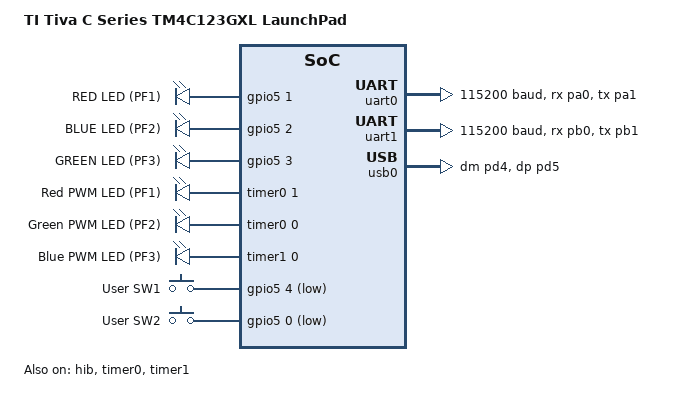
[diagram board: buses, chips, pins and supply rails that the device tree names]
/*
 * SPDX-License-Identifier: Apache-2.0
 *
 * Copyright (c) 2026 Linumiz
 * Author: Sri Surya <srisurya@linumiz.com>
 */

/dts-v1/;

#include <ti/tm4c123gh6pm.dtsi>
#include <dt-bindings/gpio/gpio.h>
#include <dt-bindings/input/input-event-codes.h>
#include <dt-bindings/pinctrl/tiva-c-pinctrl.h>
#include <dt-bindings/pwm/pwm.h>

/*
 * Pin configuration nodes for UART0 and UART1.
 * Use TIVA_C_PINMUX(port, pin, mux, type) macro.
 */
&pinctrl {
	uart0_rx_pa0: uart0_rx_pa0 {
		pinmux = <TIVA_C_PINMUX(TIVA_C_PORT_A, 0, 1, TIVA_C_TYPE_UART)>;
	};

	uart0_tx_pa1: uart0_tx_pa1 {
		pinmux = <TIVA_C_PINMUX(TIVA_C_PORT_A, 1, 1, TIVA_C_TYPE_UART)>;
	};

	uart1_rx_pb0: uart1_rx_pb0 {
		pinmux = <TIVA_C_PINMUX(TIVA_C_PORT_B, 0, 1, TIVA_C_TYPE_UART)>;
	};

	uart1_tx_pb1: uart1_tx_pb1 {
		pinmux = <TIVA_C_PINMUX(TIVA_C_PORT_B, 1, 1, TIVA_C_TYPE_UART)>;
	};

	/* PWM pins for RGB LED (PF1/PF2/PF3) */
	pwm_red_pf1: pwm_red_pf1 {
		pinmux = <TIVA_C_PINMUX(TIVA_C_PORT_F, 1, 7, TIVA_C_TYPE_PWM)>;
	};

	pwm_green_pf2: pwm_green_pf2 {
		pinmux = <TIVA_C_PINMUX(TIVA_C_PORT_F, 2, 7, TIVA_C_TYPE_PWM)>;
	};

	pwm_blue_pf3: pwm_blue_pf3 {
		pinmux = <TIVA_C_PINMUX(TIVA_C_PORT_F, 3, 7, TIVA_C_TYPE_PWM)>;
	};

	/* USB DP/DM analog pins (PD0/PD1) */
	usb0_dm_pd4: usb0_dm_pd4 {
		pinmux = <TIVA_C_PINMUX(TIVA_C_PORT_D, 4, 0, TIVA_C_TYPE_USB_ANALOG)>;
	};

	usb0_dp_pd5: usb0_dp_pd5 {
		pinmux = <TIVA_C_PINMUX(TIVA_C_PORT_D, 5, 0, TIVA_C_TYPE_USB_ANALOG)>;
	};
};

/ {
	model = "TI Tiva C Series TM4C123GXL LaunchPad";
	compatible = "ti,tm4c123gxl";

	aliases {
		led0 = &led_red;
		led1 = &led_blue;
		led2 = &led_green;
		pwm-led0 = &pwm_red;
		pwm-led1 = &pwm_green;
		pwm-led2 = &pwm_blue;
		red-pwm-led = &pwm_red;
		green-pwm-led = &pwm_green;
		blue-pwm-led = &pwm_blue;
		sw0 = &user_button_sw1;
		sw1 = &user_button_sw2;
	};

	chosen {
		zephyr,sram = &sram0;
		zephyr,flash = &flash0;
		zephyr,console = &uart0;
		zephyr,shell-uart = &uart0;
	};

	leds {
		compatible = "gpio-leds";
		led_red: led_red {
			gpios = <&gpio5 1 GPIO_ACTIVE_HIGH>;
			label = "RED LED (PF1)";
		};
		led_blue: led_blue {
			gpios = <&gpio5 2 GPIO_ACTIVE_HIGH>;
			label = "BLUE LED (PF2)";
		};
		led_green: led_green {
			gpios = <&gpio5 3 GPIO_ACTIVE_HIGH>;
			label = "GREEN LED (PF3)";
		};
	};

	pwmleds {
		compatible = "pwm-leds";

		pwm_red: pwm_red {
			pwms = <&timer0 1 20000000 PWM_POLARITY_NORMAL>;
			label = "Red PWM LED (PF1)";
		};

		pwm_green: pwm_green {
			pwms = <&timer0 0 20000000 PWM_POLARITY_NORMAL>;
			label = "Green PWM LED (PF2)";
		};

		pwm_blue: pwm_blue {
			pwms = <&timer1 0 20000000 PWM_POLARITY_NORMAL>;
			label = "Blue PWM LED (PF3)";
		};
	};

	gpio_keys {
		compatible = "gpio-keys";

		user_button_sw1: button_sw1 {
			label = "User SW1";
			gpios = <&gpio5 4 (GPIO_PULL_UP | GPIO_ACTIVE_LOW)>;
			zephyr,code = <INPUT_KEY_0>;
		};

		user_button_sw2: button_sw2 {
			label = "User SW2";
			gpios = <&gpio5 0 (GPIO_PULL_UP | GPIO_ACTIVE_LOW)>;
			zephyr,code = <INPUT_KEY_1>;
		};
	};
};

/* UART0 is connected to the on-board ICDI virtual COM port (PA0/PA1) */
&uart0 {
	status = "okay";
	current-speed = <115200>;
	pinctrl-0 = <&uart0_rx_pa0 &uart0_tx_pa1>;
	pinctrl-names = "default";
};

/* UART1 on header pins PB0/PB1 */
&uart1 {
	status = "okay";
	current-speed = <115200>;
	pinctrl-0 = <&uart1_rx_pb0 &uart1_tx_pb1>;
	pinctrl-names = "default";
};

/* GPIO Port F: RGB LED (PF1/PF2/PF3) and buttons (PF0/PF4) */
&gpio5 {
	status = "okay";
	label = "GPIOF";
};

/* Hibernation RTC (32.768 kHz crystal on board) */
&hib {
	status = "okay";
};

/* PWM Timer 0 and Timer 1 (for RGB LED on PF1/PF2/PF3) */
&timer0 {
	status = "okay";
	pinctrl-0 = <&pwm_green_pf2 &pwm_red_pf1>;
	pinctrl-names = "default";
};

&timer1 {
	status = "okay";
	pinctrl-0 = <&pwm_blue_pf3>;
	pinctrl-names = "default";
};

/* USB0 device controller (PD0=DM, PD1=DP)
 * Note: USB signals are on BoosterPack headers, not on the debug USB port.
 * External wiring required for testing.
 */
zephyr_udc0: &usb0 {
	status = "okay";
	pinctrl-0 = <&usb0_dm_pd4 &usb0_dp_pd5>;
	pinctrl-names = "default";
};
